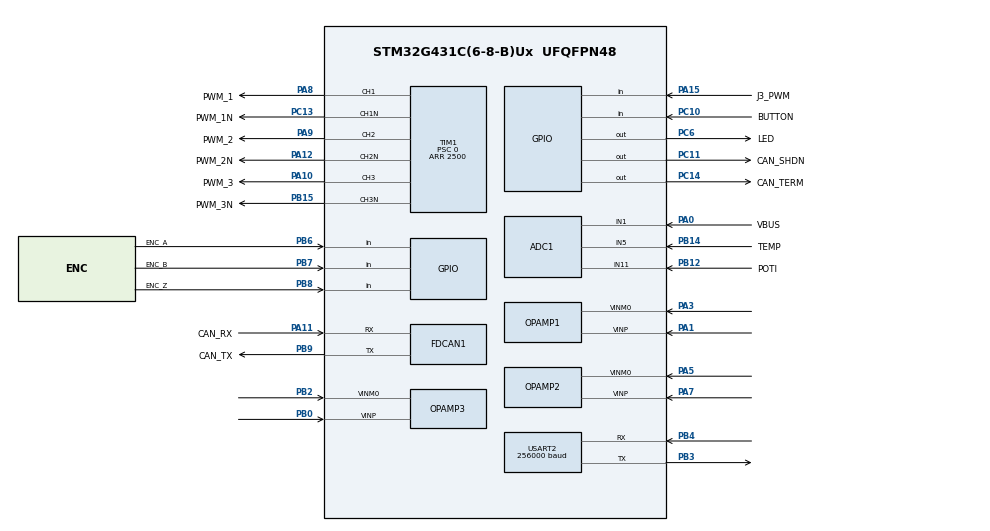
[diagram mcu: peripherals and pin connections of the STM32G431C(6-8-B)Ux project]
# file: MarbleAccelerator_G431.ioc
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ADC1.Channel-0\#ChannelRegularConversion=ADC_CHANNEL_5
ADC1.Channel-1\#ChannelRegularConversion=ADC_CHANNEL_11
ADC1.EOCSelection=ADC_EOC_SEQ_CONV
ADC1.EnableInjectedConversion=ENABLE
ADC1.ExternalTrigInjecConv=ADC_EXTERNALTRIGINJEC_T1_TRGO
ADC1.InjNumberOfConversion=3
ADC1.InjectedChannel-2\#ChannelInjectedConversion=ADC_CHANNEL_VOPAMP1
ADC1.InjectedChannel-3\#ChannelInjectedConversion=ADC_CHANNEL_1
ADC1.InjectedChannel-5\#ChannelInjectedConversion=ADC_CHANNEL_11
ADC1.InjectedConvMode=None
ADC1.InjectedOffset-2\#ChannelInjectedConversion=2490
ADC1.InjectedOffsetNumber-2\#ChannelInjectedConversion=ADC_OFFSET_1
ADC1.InjectedOffsetNumber-3\#ChannelInjectedConversion=ADC_OFFSET_NONE
ADC1.InjectedOffsetNumber-5\#ChannelInjectedConversion=ADC_OFFSET_NONE
ADC1.InjectedRank-2\#ChannelInjectedConversion=1
ADC1.InjectedRank-3\#ChannelInjectedConversion=2
ADC1.InjectedRank-5\#ChannelInjectedConversion=3
ADC1.InjectedSamplingTime-2\#ChannelInjectedConversion=ADC_SAMPLETIME_2CYCLES_5
ADC1.InjectedSamplingTime-3\#ChannelInjectedConversion=ADC_SAMPLETIME_2CYCLES_5
ADC1.InjectedSamplingTime-5\#ChannelInjectedConversion=ADC_SAMPLETIME_2CYCLES_5
ADC1.NbrOfConversion=2
ADC1.NbrOfConversionFlag=1
ADC1.OffsetNumber-0\#ChannelRegularConversion=ADC_OFFSET_NONE
ADC1.OffsetNumber-1\#ChannelRegularConversion=ADC_OFFSET_NONE
ADC1.Rank-0\#ChannelRegularConversion=1
ADC1.Rank-1\#ChannelRegularConversion=2
ADC1.Rank1_Channel=ADC_CHANNEL_VOPAMP1
ADC1.Rank2_Channel=ADC_CHANNEL_1
ADC1.Rank3_Channel=ADC_CHANNEL_11
ADC1.SamplingTime-0\#ChannelRegularConversion=ADC_SAMPLETIME_2CYCLES_5
ADC1.SamplingTime-1\#ChannelRegularConversion=ADC_SAMPLETIME_2CYCLES_5
ADC1.injectedQueueMode=DISABLE
ADC1.master=1
ADC2.EnableInjectedConversion=ENABLE
ADC2.EnableRegularConversion=DISABLE
ADC2.ExternalTrigInjecConv=ADC_EXTERNALTRIGINJEC_T1_TRGO
ADC2.InjNumberOfConversion=2
ADC2.InjectedChannel-1\#ChannelInjectedConversion=ADC_CHANNEL_VOPAMP2
ADC2.InjectedChannel-2\#ChannelInjectedConversion=ADC_CHANNEL_VOPAMP3_ADC2
ADC2.InjectedConvMode=None
ADC2.InjectedOffset-1\#ChannelInjectedConversion=2490
ADC2.InjectedOffset-2\#ChannelInjectedConversion=2490
ADC2.InjectedOffsetNumber-1\#ChannelInjectedConversion=ADC_OFFSET_1
ADC2.InjectedOffsetNumber-2\#ChannelInjectedConversion=ADC_OFFSET_2
ADC2.InjectedRank-1\#ChannelInjectedConversion=1
ADC2.InjectedRank-2\#ChannelInjectedConversion=2
ADC2.InjectedSamplingTime-1\#ChannelInjectedConversion=ADC_SAMPLETIME_2CYCLES_5
ADC2.InjectedSamplingTime-2\#ChannelInjectedConversion=ADC_SAMPLETIME_2CYCLES_5
ADC2.Rank1_Channel=ADC_CHANNEL_VOPAMP2
ADC2.Rank2_Channel=ADC_CHANNEL_VOPAMP3_ADC2
ADC2.injectedQueueMode=DISABLE
FDCAN1.ClockDivider=FDCAN_CLOCK_DIV1
FDCAN1.DataTimeSeg1=1
FDCAN1.DataTimeSeg2=1
FDCAN1.FrameFormat=FDCAN_FRAME_CLASSIC
FDCAN1.NominalTimeSeg1=99
FDCAN1.NominalTimeSeg2=60
Mcu.Family=STM32G4
Mcu.Name=STM32G431C(6-8-B)Ux
Mcu.Package=UFQFPN48
NVIC.FDCAN1_IT0_IRQn=true\:6\:0\:true\:false\:true\:true\:true\:true
NVIC.PriorityGroup=NVIC_PRIORITYGROUP_4
NVIC.TIM1_UP_TIM16_IRQn=true\:2\:0\:true\:false\:true\:true\:true\:true
NVIC.USART2_IRQn=true\:7\:0\:true\:false\:true\:true\:true\:true
OPAMP1.PgaGain=OPAMP_PGA_GAIN_16_OR_MINUS_15
OPAMP2.PgaGain=OPAMP_PGA_GAIN_16_OR_MINUS_15
OPAMP3.PgaGain=OPAMP_PGA_GAIN_16_OR_MINUS_15
PA0.GPIO_Label=VBUS
PA0.Mode=IN1-Single-Ended
PA0.Signal=ADC1_IN1
PA1.Mode=PGA Internally connected_IO0_BIAS
PA1.Signal=OPAMP1_VINP
PA10.GPIO_Label=PWM_3
PA10.Signal=S_TIM1_CH3
PA11.GPIO_Label=CAN_RX
PA11.Mode=FDCAN_Activate
PA11.Signal=FDCAN1_RX
PA12.GPIO_Label=PWM_2N
PA12.Mode=PWM Generation2 CH2 CH2N
PA12.Signal=TIM1_CH2N
PA15.GPIO_Label=J3_PWM
PA15.Signal=GPIO_Input
PA3.Mode=PGA Internally connected_IO0_BIAS
PA3.Signal=OPAMP1_VINM0
PA5.Mode=PGA Internally connected_IO0_BIAS
PA5.Signal=OPAMP2_VINM0
PA7.Mode=PGA Internally connected_IO0_BIAS
PA7.Signal=OPAMP2_VINP
PA8.GPIO_Label=PWM_1
PA8.Signal=S_TIM1_CH1
PA9.GPIO_Label=PWM_2
PA9.Signal=S_TIM1_CH2
PB0.Mode=PGA Internally connected_IO0_BIAS
PB0.Signal=OPAMP3_VINP
PB12.GPIO_Label=POTI
PB12.Mode=IN11-Single-Ended
PB12.Signal=ADC1_IN11
PB14.GPIO_Label=TEMP
PB14.Mode=IN5-Single-Ended
PB14.Signal=ADC1_IN5
PB15.GPIO_Label=PWM_3N
PB15.Mode=PWM Generation3 CH3 CH3N
PB15.Signal=TIM1_CH3N
PB2.Mode=PGA Internally connected_IO0_BIAS
PB2.Signal=OPAMP3_VINM0
PB3.Mode=Asynchronous
PB3.Signal=USART2_TX
PB4.Mode=Asynchronous
PB4.Signal=USART2_RX
PB6.GPIO_Label=ENC_A
PB6.Signal=GPIO_Input
PB7.GPIO_Label=ENC_B
PB7.Signal=GPIO_Input
PB8-BOOT0.GPIO_Label=ENC_Z
PB8-BOOT0.Signal=GPIO_Input
PB9.GPIO_Label=CAN_TX
PB9.Mode=FDCAN_Activate
PB9.Signal=FDCAN1_TX
PC10.GPIO_Label=BUTTON
PC10.GPIO_PuPd=GPIO_NOPULL
PC10.Signal=GPIO_Input
PC11.GPIO_Label=CAN_SHDN
PC11.Signal=GPIO_Output
PC13.GPIO_Label=PWM_1N
PC13.Mode=PWM Generation1 CH1 CH1N
PC13.Signal=TIM1_CH1N
PC14-OSC32_IN.GPIO_Label=CAN_TERM
PC14-OSC32_IN.Signal=GPIO_Output
PC6.GPIO_Label=LED
PC6.Signal=GPIO_Output
PF0-OSC_IN.Mode=HSE-External-Oscillator
PF0-OSC_IN.Signal=RCC_OSC_IN
PF1-OSC_OUT.Mode=HSE-External-Oscillator
PF1-OSC_OUT.Signal=RCC_OSC_OUT
ProjectManager.HeapSize=0x200
ProjectManager.StackSize=0x400
ProjectManager.TargetToolchain=STM32CubeIDE
RCC.ADC12Freq_Value=160000000
RCC.AHBFreq_Value=160000000
RCC.APB1Freq_Value=160000000
RCC.APB1TimFreq_Value=160000000
RCC.APB2Freq_Value=160000000
RCC.APB2TimFreq_Value=160000000
RCC.CortexFreq_Value=160000000
RCC.EXTERNAL_CLOCK_VALUE=12288000
RCC.HCLKFreq_Value=160000000
RCC.HSE_VALUE=8000000
RCC.HSI48_VALUE=48000000
RCC.HSI_VALUE=16000000
RCC.LSE_VALUE=32768
RCC.PLLM=RCC_PLLM_DIV2
RCC.PLLN=80
RCC.PLLSourceVirtual=RCC_PLLSOURCE_HSE
RCC.SYSCLKFreq_VALUE=160000000
RCC.SYSCLKSource=RCC_SYSCLKSOURCE_PLLCLK
RCC.USBFreq_Value=160000000
RCC.VCOOutputFreq_Value=320000000
SH.S_TIM1_CH1.0=TIM1_CH1,PWM Generation1 CH1 CH1N
SH.S_TIM1_CH2.0=TIM1_CH2,PWM Generation2 CH2 CH2N
SH.S_TIM1_CH3.0=TIM1_CH3,PWM Generation3 CH3 CH3N
TIM1.AutoReloadPreload=TIM_AUTORELOAD_PRELOAD_ENABLE
TIM1.Channel-PWM\ Generation1\ CH1\ CH1N=TIM_CHANNEL_1
TIM1.Channel-PWM\ Generation2\ CH2\ CH2N=TIM_CHANNEL_2
TIM1.Channel-PWM\ Generation3\ CH3\ CH3N=TIM_CHANNEL_3
TIM1.CounterMode=TIM_COUNTERMODE_CENTERALIGNED1
TIM1.DeadTime=160
TIM1.LockLevel=TIM_LOCKLEVEL_1
TIM1.PeriodNoDither=2500
TIM1.Prescaler=0
TIM1.PulseNoDither_1=0
TIM1.PulseNoDither_2=0
TIM1.PulseNoDither_3=0
TIM1.RepetitionCounter=3
TIM1.TIM_MasterOutputTrigger=TIM_TRGO_UPDATE
USART2.BaudRate=256000
USART2.FIFOMode=FIFOMODE_ENABLE
USART2.RXFIFOThreshold=RXFIFO_THRESHOLD_HALFFULL
USART2.TXFIFOThreshold=TXFIFO_THRESHOLD_HALFFULL
USART2.VirtualMode-Asynchronous=VM_ASYNC
VP_ADC1_OPAMP_INTERNAL1.Mode=IN-OPAMP1
VP_ADC2_OPAMP_INTERNAL2.Mode=IN-OPAMP2
VP_ADC2_OPAMP_INTERNAL3.Mode=IN-OPAMP3
VP_SYS_VS_DBSignals.Mode=DisableDeadBatterySignals
VP_TIM1_VS_ClockSourceINT.Mode=Internal
board=custom

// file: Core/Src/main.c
/* USER CODE BEGIN Header */
/**
  ******************************************************************************
  * @file           : main.c
  * @brief          : Main program body
  ******************************************************************************
  * @attention
  *
  * <h2><center>&copy; Copyright (c) 2021 STMicroelectronics.
  * All rights reserved.</center></h2>
  *
  * This software component is licensed by ST under BSD 3-Clause license,
  * the "License"; You may not use this file except in compliance with the
  * License. You may obtain a copy of the License at:
  *                        opensource.org/licenses/BSD-3-Clause
  *
  ******************************************************************************
  */
/* USER CODE END Header */
#include "main.h"

FDCAN_HandleTypeDef hfdcan1;

UART_HandleTypeDef huart2;

void SystemClock_Config(void);
static void MX_GPIO_Init(void);
static void MX_OPAMP3_Init(void);
static void MX_OPAMP1_Init(void);
static void MX_OPAMP2_Init(void);
static void MX_TIM1_Init(void);
static void MX_ADC1_Init(void);
static void MX_ADC2_Init(void);
static void MX_FDCAN1_Init(void);
static void MX_USART2_UART_Init(void);
/* USER CODE BEGIN PFP */
extern void FDCAN_Config(void);
extern void control_init(void);
extern void datarec_init(void);
extern int datarec_isNewData(void);
extern void datarec_printResults(UART_HandleTypeDef *huart);
/* USER CODE END PFP */

int main(void)
{

  /* MCU Configuration--------------------------------------------------------*/

  /* Reset of all peripherals, Initializes the Flash interface and the Systick. */
  HAL_Init();

  /* Configure the system clock */
  SystemClock_Config();

  /* Initialize all configured peripherals */
  MX_GPIO_Init();
  MX_OPAMP3_Init();
  MX_OPAMP1_Init();
  MX_OPAMP2_Init();
  MX_TIM1_Init();
  MX_ADC1_Init();
  MX_ADC2_Init();
  MX_FDCAN1_Init();
  MX_USART2_UART_Init();
  /* USER CODE BEGIN 2 */

  //Enable Opamps
  LL_OPAMP_Enable(OPAMP1);
  LL_OPAMP_Enable(OPAMP2);
  LL_OPAMP_Enable(OPAMP3);

  //Enable ADCs
  LL_ADC_Enable(ADC1);
  LL_ADC_Enable(ADC2);

  //LL_ADC_EnableIT_EOCS(ADC1);
  //LL_ADC_REG_StartConversionSWStart(ADC1);
  LL_ADC_INJ_StartConversion(ADC1);
  //LL_ADC_EnableIT_EOCS(ADC2);
  //LL_ADC_REG_StartConversionSWStart(ADC2);
  LL_ADC_INJ_StartConversion(ADC2);

  //TIM 4 is for Encoder
  LL_TIM_EnableCounter(TIM4);
  LL_TIM_CC_EnableChannel(TIM4, LL_TIM_CHANNEL_CH3); //Zero marker position

  //TIM1 is for PWM
  LL_TIM_EnableCounter(TIM1);
  LL_TIM_CC_EnableChannel(TIM1, LL_TIM_CHANNEL_CH1);
  LL_TIM_CC_EnableChannel(TIM1, LL_TIM_CHANNEL_CH1N);
  LL_TIM_CC_EnableChannel(TIM1, LL_TIM_CHANNEL_CH2);
  LL_TIM_CC_EnableChannel(TIM1, LL_TIM_CHANNEL_CH2N);
  LL_TIM_CC_EnableChannel(TIM1, LL_TIM_CHANNEL_CH3);
  LL_TIM_CC_EnableChannel(TIM1, LL_TIM_CHANNEL_CH3N);

  //Config / Enable CAN
  //FDCAN_Config();

  control_init();
  datarec_init();

  /* USER CODE END 2 */

  /* Infinite loop */
  while (1)
  {

    /* USER CODE BEGIN 3 */
	if(datarec_isNewData()){
		datarec_printResults(&huart2);
	}

  }
  /* USER CODE END 3 */
}

void SystemClock_Config(void)
{
  LL_FLASH_SetLatency(LL_FLASH_LATENCY_4);
  while(LL_FLASH_GetLatency() != LL_FLASH_LATENCY_4)
  {
  }
  LL_PWR_EnableRange1BoostMode();
  LL_RCC_HSE_Enable();
   /* Wait till HSE is ready */
  while(LL_RCC_HSE_IsReady() != 1)
  {
  }

  LL_RCC_PLL_ConfigDomain_SYS(LL_RCC_PLLSOURCE_HSE, LL_RCC_PLLM_DIV_2, 80, LL_RCC_PLLR_DIV_2);
  LL_RCC_PLL_EnableDomain_SYS();
  LL_RCC_PLL_Enable();
   /* Wait till PLL is ready */
  while(LL_RCC_PLL_IsReady() != 1)
  {
  }

  LL_RCC_SetSysClkSource(LL_RCC_SYS_CLKSOURCE_PLL);
  LL_RCC_SetAHBPrescaler(LL_RCC_SYSCLK_DIV_2);
   /* Wait till System clock is ready */
  while(LL_RCC_GetSysClkSource() != LL_RCC_SYS_CLKSOURCE_STATUS_PLL)
  {
  }

  /* Insure 1µs transition state at intermediate medium speed clock based on DWT */
  CoreDebug->DEMCR |= CoreDebug_DEMCR_TRCENA_Msk;
  DWT->CTRL |= DWT_CTRL_CYCCNTENA_Msk;
  DWT->CYCCNT = 0;
  while(DWT->CYCCNT < 100);
  /* Set AHB prescaler*/
  LL_RCC_SetAHBPrescaler(LL_RCC_SYSCLK_DIV_1);
  LL_RCC_SetAPB1Prescaler(LL_RCC_APB1_DIV_1);
  LL_RCC_SetAPB2Prescaler(LL_RCC_APB2_DIV_1);
  LL_SetSystemCoreClock(160000000);

   /* Update the time base */
  if (HAL_InitTick (TICK_INT_PRIORITY) != HAL_OK)
  {
    Error_Handler();
  }
}

static void MX_ADC1_Init(void)
{

  LL_ADC_InitTypeDef ADC_InitStruct = {0};
  LL_ADC_REG_InitTypeDef ADC_REG_InitStruct = {0};
  LL_ADC_CommonInitTypeDef ADC_CommonInitStruct = {0};
  LL_ADC_INJ_InitTypeDef ADC_INJ_InitStruct = {0};

  LL_GPIO_InitTypeDef GPIO_InitStruct = {0};

  LL_RCC_SetADCClockSource(LL_RCC_ADC12_CLKSOURCE_SYSCLK);

  /* Peripheral clock enable */
  LL_AHB2_GRP1_EnableClock(LL_AHB2_GRP1_PERIPH_ADC12);

  LL_AHB2_GRP1_EnableClock(LL_AHB2_GRP1_PERIPH_GPIOA);
  LL_AHB2_GRP1_EnableClock(LL_AHB2_GRP1_PERIPH_GPIOB);
  /**ADC1 GPIO Configuration
  PA0   ------> ADC1_IN1
  PB12   ------> ADC1_IN11
  PB14   ------> ADC1_IN5
  */
  GPIO_InitStruct.Pin = VBUS_Pin;
  GPIO_InitStruct.Mode = LL_GPIO_MODE_ANALOG;
  GPIO_InitStruct.Pull = LL_GPIO_PULL_NO;
  LL_GPIO_Init(VBUS_GPIO_Port, &GPIO_InitStruct);

  GPIO_InitStruct.Pin = POTI_Pin;
  GPIO_InitStruct.Mode = LL_GPIO_MODE_ANALOG;
  GPIO_InitStruct.Pull = LL_GPIO_PULL_NO;
  LL_GPIO_Init(POTI_GPIO_Port, &GPIO_InitStruct);

  GPIO_InitStruct.Pin = TEMP_Pin;
  GPIO_InitStruct.Mode = LL_GPIO_MODE_ANALOG;
  GPIO_InitStruct.Pull = LL_GPIO_PULL_NO;
  LL_GPIO_Init(TEMP_GPIO_Port, &GPIO_InitStruct);

  /** Common config
  */
  ADC_InitStruct.Resolution = LL_ADC_RESOLUTION_12B;
  ADC_InitStruct.DataAlignment = LL_ADC_DATA_ALIGN_RIGHT;
  ADC_InitStruct.LowPowerMode = LL_ADC_LP_MODE_NONE;
  LL_ADC_Init(ADC1, &ADC_InitStruct);
  ADC_REG_InitStruct.TriggerSource = LL_ADC_REG_TRIG_SOFTWARE;
  ADC_REG_InitStruct.SequencerLength = LL_ADC_REG_SEQ_SCAN_ENABLE_2RANKS;
  ADC_REG_InitStruct.SequencerDiscont = LL_ADC_REG_SEQ_DISCONT_DISABLE;
  ADC_REG_InitStruct.ContinuousMode = LL_ADC_REG_CONV_SINGLE;
  ADC_REG_InitStruct.DMATransfer = LL_ADC_REG_DMA_TRANSFER_NONE;
  ADC_REG_InitStruct.Overrun = LL_ADC_REG_OVR_DATA_PRESERVED;
  LL_ADC_REG_Init(ADC1, &ADC_REG_InitStruct);
  LL_ADC_SetGainCompensation(ADC1, 0);
  LL_ADC_SetOverSamplingScope(ADC1, LL_ADC_OVS_DISABLE);
  ADC_CommonInitStruct.CommonClock = LL_ADC_CLOCK_SYNC_PCLK_DIV4;
  ADC_CommonInitStruct.Multimode = LL_ADC_MULTI_INDEPENDENT;
  LL_ADC_CommonInit(__LL_ADC_COMMON_INSTANCE(ADC1), &ADC_CommonInitStruct);
  ADC_INJ_InitStruct.TriggerSource = LL_ADC_INJ_TRIG_EXT_TIM1_TRGO;
  ADC_INJ_InitStruct.SequencerLength = LL_ADC_INJ_SEQ_SCAN_ENABLE_3RANKS;
  ADC_INJ_InitStruct.SequencerDiscont = LL_ADC_INJ_SEQ_DISCONT_DISABLE;
  ADC_INJ_InitStruct.TrigAuto = LL_ADC_INJ_TRIG_INDEPENDENT;
  LL_ADC_INJ_Init(ADC1, &ADC_INJ_InitStruct);
  LL_ADC_INJ_SetQueueMode(ADC1, LL_ADC_INJ_QUEUE_DISABLE);
  LL_ADC_INJ_SetTriggerEdge(ADC1, LL_ADC_INJ_TRIG_EXT_RISING);

  /* Disable ADC deep power down (enabled by default after reset state) */
  LL_ADC_DisableDeepPowerDown(ADC1);
  /* Enable ADC internal voltage regulator */
  LL_ADC_EnableInternalRegulator(ADC1);
  /* Delay for ADC internal voltage regulator stabilization. */
  /* Compute number of CPU cycles to wait for, from delay in us. */
  /* Note: Variable divided by 2 to compensate partially */
  /* CPU processing cycles (depends on compilation optimization). */
  /* Note: If system core clock frequency is below 200kHz, wait time */
  /* is only a few CPU processing cycles. */
  uint32_t wait_loop_index;
  wait_loop_index = ((LL_ADC_DELAY_INTERNAL_REGUL_STAB_US * (SystemCoreClock / (100000 * 2))) / 10);
  while(wait_loop_index != 0)
  {
    wait_loop_index--;
  }
  /** Configure Regular Channel
  */
  LL_ADC_REG_SetSequencerRanks(ADC1, LL_ADC_REG_RANK_1, LL_ADC_CHANNEL_5);
  LL_ADC_SetChannelSamplingTime(ADC1, LL_ADC_CHANNEL_5, LL_ADC_SAMPLINGTIME_2CYCLES_5);
  LL_ADC_SetChannelSingleDiff(ADC1, LL_ADC_CHANNEL_5, LL_ADC_SINGLE_ENDED);
  /** Configure Regular Channel
  */
  LL_ADC_REG_SetSequencerRanks(ADC1, LL_ADC_REG_RANK_2, LL_ADC_CHANNEL_11);
  LL_ADC_SetChannelSamplingTime(ADC1, LL_ADC_CHANNEL_11, LL_ADC_SAMPLINGTIME_2CYCLES_5);
  LL_ADC_SetChannelSingleDiff(ADC1, LL_ADC_CHANNEL_11, LL_ADC_SINGLE_ENDED);
  /** Configure Injected Channel
  */
  LL_ADC_INJ_SetSequencerRanks(ADC1, LL_ADC_INJ_RANK_1, LL_ADC_CHANNEL_VOPAMP1);
  LL_ADC_SetChannelSamplingTime(ADC1, LL_ADC_CHANNEL_VOPAMP1, LL_ADC_SAMPLINGTIME_2CYCLES_5);
  LL_ADC_SetChannelSingleDiff(ADC1, LL_ADC_CHANNEL_VOPAMP1, LL_ADC_SINGLE_ENDED);
  LL_ADC_SetOffset(ADC1, LL_ADC_OFFSET_1, LL_ADC_CHANNEL_VOPAMP1, 2490);
  LL_ADC_SetOffsetSign(ADC1, LL_ADC_OFFSET_1, LL_ADC_OFFSET_SIGN_NEGATIVE);
  LL_ADC_SetOffsetSaturation(ADC1, LL_ADC_OFFSET_1, LL_ADC_OFFSET_SATURATION_DISABLE);
  /** Configure Injected Channel
  */
  LL_ADC_INJ_SetSequencerRanks(ADC1, LL_ADC_INJ_RANK_2, LL_ADC_CHANNEL_1);
  LL_ADC_SetChannelSamplingTime(ADC1, LL_ADC_CHANNEL_1, LL_ADC_SAMPLINGTIME_2CYCLES_5);
  LL_ADC_SetChannelSingleDiff(ADC1, LL_ADC_CHANNEL_1, LL_ADC_SINGLE_ENDED);
  /** Configure Injected Channel
  */
  LL_ADC_INJ_SetSequencerRanks(ADC1, LL_ADC_INJ_RANK_3, LL_ADC_CHANNEL_11);
  LL_ADC_SetChannelSamplingTime(ADC1, LL_ADC_CHANNEL_11, LL_ADC_SAMPLINGTIME_2CYCLES_5);
  LL_ADC_SetChannelSingleDiff(ADC1, LL_ADC_CHANNEL_11, LL_ADC_SINGLE_ENDED);

}

static void MX_ADC2_Init(void)
{

  LL_ADC_InitTypeDef ADC_InitStruct = {0};
  LL_ADC_REG_InitTypeDef ADC_REG_InitStruct = {0};
  LL_ADC_INJ_InitTypeDef ADC_INJ_InitStruct = {0};

  LL_RCC_SetADCClockSource(LL_RCC_ADC12_CLKSOURCE_SYSCLK);

  /* Peripheral clock enable */
  LL_AHB2_GRP1_EnableClock(LL_AHB2_GRP1_PERIPH_ADC12);

  /** Common config
  */
  ADC_InitStruct.Resolution = LL_ADC_RESOLUTION_12B;
  ADC_InitStruct.DataAlignment = LL_ADC_DATA_ALIGN_RIGHT;
  ADC_InitStruct.LowPowerMode = LL_ADC_LP_MODE_NONE;
  LL_ADC_Init(ADC2, &ADC_InitStruct);
  ADC_REG_InitStruct.SequencerLength = LL_ADC_REG_SEQ_SCAN_DISABLE;
  ADC_REG_InitStruct.SequencerDiscont = LL_ADC_REG_SEQ_DISCONT_DISABLE;
  ADC_REG_InitStruct.ContinuousMode = LL_ADC_REG_CONV_SINGLE;
  ADC_REG_InitStruct.DMATransfer = LL_ADC_REG_DMA_TRANSFER_NONE;
  ADC_REG_InitStruct.Overrun = LL_ADC_REG_OVR_DATA_PRESERVED;
  LL_ADC_REG_Init(ADC2, &ADC_REG_InitStruct);
  LL_ADC_SetGainCompensation(ADC2, 0);
  LL_ADC_SetOverSamplingScope(ADC2, LL_ADC_OVS_DISABLE);
  ADC_INJ_InitStruct.TriggerSource = LL_ADC_INJ_TRIG_EXT_TIM1_TRGO;
  ADC_INJ_InitStruct.SequencerLength = LL_ADC_INJ_SEQ_SCAN_ENABLE_2RANKS;
  ADC_INJ_InitStruct.SequencerDiscont = LL_ADC_INJ_SEQ_DISCONT_DISABLE;
  ADC_INJ_InitStruct.TrigAuto = LL_ADC_INJ_TRIG_INDEPENDENT;
  LL_ADC_INJ_Init(ADC2, &ADC_INJ_InitStruct);
  LL_ADC_INJ_SetQueueMode(ADC2, LL_ADC_INJ_QUEUE_DISABLE);
  LL_ADC_INJ_SetTriggerEdge(ADC2, LL_ADC_INJ_TRIG_EXT_RISING);

  /* Disable ADC deep power down (enabled by default after reset state) */
  LL_ADC_DisableDeepPowerDown(ADC2);
  /* Enable ADC internal voltage regulator */
  LL_ADC_EnableInternalRegulator(ADC2);
  /* Delay for ADC internal voltage regulator stabilization. */
  /* Compute number of CPU cycles to wait for, from delay in us. */
  /* Note: Variable divided by 2 to compensate partially */
  /* CPU processing cycles (depends on compilation optimization). */
  /* Note: If system core clock frequency is below 200kHz, wait time */
  /* is only a few CPU processing cycles. */
  uint32_t wait_loop_index;
  wait_loop_index = ((LL_ADC_DELAY_INTERNAL_REGUL_STAB_US * (SystemCoreClock / (100000 * 2))) / 10);
  while(wait_loop_index != 0)
  {
    wait_loop_index--;
  }
  /** Configure Injected Channel
  */
  LL_ADC_INJ_SetSequencerRanks(ADC2, LL_ADC_INJ_RANK_1, LL_ADC_CHANNEL_VOPAMP2);
  LL_ADC_SetChannelSamplingTime(ADC2, LL_ADC_CHANNEL_VOPAMP2, LL_ADC_SAMPLINGTIME_2CYCLES_5);
  LL_ADC_SetChannelSingleDiff(ADC2, LL_ADC_CHANNEL_VOPAMP2, LL_ADC_SINGLE_ENDED);
  LL_ADC_SetOffset(ADC2, LL_ADC_OFFSET_1, LL_ADC_CHANNEL_VOPAMP2, 2490);
  LL_ADC_SetOffsetSign(ADC2, LL_ADC_OFFSET_1, LL_ADC_OFFSET_SIGN_NEGATIVE);
  LL_ADC_SetOffsetSaturation(ADC2, LL_ADC_OFFSET_1, LL_ADC_OFFSET_SATURATION_DISABLE);
  /** Configure Injected Channel
  */
  LL_ADC_INJ_SetSequencerRanks(ADC2, LL_ADC_INJ_RANK_2, LL_ADC_CHANNEL_VOPAMP3_ADC2);
  LL_ADC_SetChannelSamplingTime(ADC2, LL_ADC_CHANNEL_VOPAMP3_ADC2, LL_ADC_SAMPLINGTIME_2CYCLES_5);
  LL_ADC_SetChannelSingleDiff(ADC2, LL_ADC_CHANNEL_VOPAMP3_ADC2, LL_ADC_SINGLE_ENDED);
  LL_ADC_SetOffset(ADC2, LL_ADC_OFFSET_2, LL_ADC_CHANNEL_VOPAMP3_ADC2, 2490);
  LL_ADC_SetOffsetSign(ADC2, LL_ADC_OFFSET_2, LL_ADC_OFFSET_SIGN_NEGATIVE);
  LL_ADC_SetOffsetSaturation(ADC2, LL_ADC_OFFSET_2, LL_ADC_OFFSET_SATURATION_DISABLE);

}

static void MX_FDCAN1_Init(void)
{

  hfdcan1.Instance = FDCAN1;
  hfdcan1.Init.ClockDivider = FDCAN_CLOCK_DIV1;
  hfdcan1.Init.FrameFormat = FDCAN_FRAME_CLASSIC;
  hfdcan1.Init.Mode = FDCAN_MODE_NORMAL;
  hfdcan1.Init.AutoRetransmission = DISABLE;
  hfdcan1.Init.TransmitPause = DISABLE;
  hfdcan1.Init.ProtocolException = DISABLE;
  hfdcan1.Init.NominalPrescaler = 1;
  hfdcan1.Init.NominalSyncJumpWidth = 1;
  hfdcan1.Init.NominalTimeSeg1 = 99;
  hfdcan1.Init.NominalTimeSeg2 = 60;
  hfdcan1.Init.DataPrescaler = 1;
  hfdcan1.Init.DataSyncJumpWidth = 1;
  hfdcan1.Init.DataTimeSeg1 = 1;
  hfdcan1.Init.DataTimeSeg2 = 1;
  hfdcan1.Init.StdFiltersNbr = 0;
  hfdcan1.Init.ExtFiltersNbr = 0;
  hfdcan1.Init.TxFifoQueueMode = FDCAN_TX_FIFO_OPERATION;
  if (HAL_FDCAN_Init(&hfdcan1) != HAL_OK)
  {
    Error_Handler();
  }

}

static void MX_OPAMP1_Init(void)
{

  LL_OPAMP_InitTypeDef OPAMP_InitStruct = {0};

  LL_GPIO_InitTypeDef GPIO_InitStruct = {0};

  LL_AHB2_GRP1_EnableClock(LL_AHB2_GRP1_PERIPH_GPIOA);
  /**OPAMP1 GPIO Configuration
  PA1   ------> OPAMP1_VINP
  PA3   ------> OPAMP1_VINM0
  */
  GPIO_InitStruct.Pin = LL_GPIO_PIN_1;
  GPIO_InitStruct.Mode = LL_GPIO_MODE_ANALOG;
  GPIO_InitStruct.Pull = LL_GPIO_PULL_NO;
  LL_GPIO_Init(GPIOA, &GPIO_InitStruct);

  GPIO_InitStruct.Pin = LL_GPIO_PIN_3;
  GPIO_InitStruct.Mode = LL_GPIO_MODE_ANALOG;
  GPIO_InitStruct.Pull = LL_GPIO_PULL_NO;
  LL_GPIO_Init(GPIOA, &GPIO_InitStruct);

  OPAMP_InitStruct.PowerMode = LL_OPAMP_POWERMODE_NORMALSPEED;
  OPAMP_InitStruct.FunctionalMode = LL_OPAMP_MODE_PGA_IO0_BIAS;
  OPAMP_InitStruct.InputNonInverting = LL_OPAMP_INPUT_NONINVERT_IO0;
  LL_OPAMP_Init(OPAMP1, &OPAMP_InitStruct);
  LL_OPAMP_SetInputsMuxMode(OPAMP1, LL_OPAMP_INPUT_MUX_DISABLE);
  LL_OPAMP_SetInternalOutput(OPAMP1, LL_OPAMP_INTERNAL_OUPUT_ENABLED);
  LL_OPAMP_SetPGAGain(OPAMP1, LL_OPAMP_PGA_GAIN_16_OR_MINUS_15);
  LL_OPAMP_SetTrimmingMode(OPAMP1, LL_OPAMP_TRIMMING_FACTORY);

}

static void MX_OPAMP2_Init(void)
{

  LL_OPAMP_InitTypeDef OPAMP_InitStruct = {0};

  LL_GPIO_InitTypeDef GPIO_InitStruct = {0};

  LL_AHB2_GRP1_EnableClock(LL_AHB2_GRP1_PERIPH_GPIOA);
  /**OPAMP2 GPIO Configuration
  PA5   ------> OPAMP2_VINM0
  PA7   ------> OPAMP2_VINP
  */
  GPIO_InitStruct.Pin = LL_GPIO_PIN_5;
  GPIO_InitStruct.Mode = LL_GPIO_MODE_ANALOG;
  GPIO_InitStruct.Pull = LL_GPIO_PULL_NO;
  LL_GPIO_Init(GPIOA, &GPIO_InitStruct);

  GPIO_InitStruct.Pin = LL_GPIO_PIN_7;
  GPIO_InitStruct.Mode = LL_GPIO_MODE_ANALOG;
  GPIO_InitStruct.Pull = LL_GPIO_PULL_NO;
  LL_GPIO_Init(GPIOA, &GPIO_InitStruct);

  OPAMP_InitStruct.PowerMode = LL_OPAMP_POWERMODE_NORMALSPEED;
  OPAMP_InitStruct.FunctionalMode = LL_OPAMP_MODE_PGA_IO0_BIAS;
  OPAMP_InitStruct.InputNonInverting = LL_OPAMP_INPUT_NONINVERT_IO0;
  LL_OPAMP_Init(OPAMP2, &OPAMP_InitStruct);
  LL_OPAMP_SetInputsMuxMode(OPAMP2, LL_OPAMP_INPUT_MUX_DISABLE);
  LL_OPAMP_SetInternalOutput(OPAMP2, LL_OPAMP_INTERNAL_OUPUT_ENABLED);
  LL_OPAMP_SetPGAGain(OPAMP2, LL_OPAMP_PGA_GAIN_16_OR_MINUS_15);
  LL_OPAMP_SetTrimmingMode(OPAMP2, LL_OPAMP_TRIMMING_FACTORY);

}

static void MX_OPAMP3_Init(void)
{

  LL_OPAMP_InitTypeDef OPAMP_InitStruct = {0};

  LL_GPIO_InitTypeDef GPIO_InitStruct = {0};

  LL_AHB2_GRP1_EnableClock(LL_AHB2_GRP1_PERIPH_GPIOB);
  /**OPAMP3 GPIO Configuration
  PB0   ------> OPAMP3_VINP
  PB2   ------> OPAMP3_VINM0
  */
  GPIO_InitStruct.Pin = LL_GPIO_PIN_0;
  GPIO_InitStruct.Mode = LL_GPIO_MODE_ANALOG;
  GPIO_InitStruct.Pull = LL_GPIO_PULL_NO;
  LL_GPIO_Init(GPIOB, &GPIO_InitStruct);

  GPIO_InitStruct.Pin = LL_GPIO_PIN_2;
  GPIO_InitStruct.Mode = LL_GPIO_MODE_ANALOG;
  GPIO_InitStruct.Pull = LL_GPIO_PULL_NO;
  LL_GPIO_Init(GPIOB, &GPIO_InitStruct);

  OPAMP_InitStruct.PowerMode = LL_OPAMP_POWERMODE_NORMALSPEED;
  OPAMP_InitStruct.FunctionalMode = LL_OPAMP_MODE_PGA_IO0_BIAS;
  OPAMP_InitStruct.InputNonInverting = LL_OPAMP_INPUT_NONINVERT_IO0;
  LL_OPAMP_Init(OPAMP3, &OPAMP_InitStruct);
  LL_OPAMP_SetInputsMuxMode(OPAMP3, LL_OPAMP_INPUT_MUX_DISABLE);
  LL_OPAMP_SetInternalOutput(OPAMP3, LL_OPAMP_INTERNAL_OUPUT_ENABLED);
  LL_OPAMP_SetPGAGain(OPAMP3, LL_OPAMP_PGA_GAIN_16_OR_MINUS_15);
  LL_OPAMP_SetTrimmingMode(OPAMP3, LL_OPAMP_TRIMMING_FACTORY);

}

static void MX_TIM1_Init(void)
{

  LL_TIM_InitTypeDef TIM_InitStruct = {0};
  LL_TIM_OC_InitTypeDef TIM_OC_InitStruct = {0};
  LL_TIM_BDTR_InitTypeDef TIM_BDTRInitStruct = {0};

  LL_GPIO_InitTypeDef GPIO_InitStruct = {0};

  /* Peripheral clock enable */
  LL_APB2_GRP1_EnableClock(LL_APB2_GRP1_PERIPH_TIM1);

  /* TIM1 interrupt Init */
  NVIC_SetPriority(TIM1_UP_TIM16_IRQn, NVIC_EncodePriority(NVIC_GetPriorityGrouping(),2, 0));
  NVIC_EnableIRQ(TIM1_UP_TIM16_IRQn);

  TIM_InitStruct.Prescaler = 0;
  TIM_InitStruct.CounterMode = LL_TIM_COUNTERMODE_CENTER_UP;
  TIM_InitStruct.Autoreload = 2500;
  TIM_InitStruct.ClockDivision = LL_TIM_CLOCKDIVISION_DIV1;
  TIM_InitStruct.RepetitionCounter = 3;
  LL_TIM_Init(TIM1, &TIM_InitStruct);
  LL_TIM_EnableARRPreload(TIM1);
  LL_TIM_SetClockSource(TIM1, LL_TIM_CLOCKSOURCE_INTERNAL);
  LL_TIM_OC_EnablePreload(TIM1, LL_TIM_CHANNEL_CH1);
  TIM_OC_InitStruct.OCMode = LL_TIM_OCMODE_PWM1;
  TIM_OC_InitStruct.OCState = LL_TIM_OCSTATE_DISABLE;
  TIM_OC_InitStruct.OCNState = LL_TIM_OCSTATE_DISABLE;
  TIM_OC_InitStruct.CompareValue = 0;
  TIM_OC_InitStruct.OCPolarity = LL_TIM_OCPOLARITY_HIGH;
  TIM_OC_InitStruct.OCNPolarity = LL_TIM_OCPOLARITY_HIGH;
  TIM_OC_InitStruct.OCIdleState = LL_TIM_OCIDLESTATE_LOW;
  TIM_OC_InitStruct.OCNIdleState = LL_TIM_OCIDLESTATE_LOW;
  LL_TIM_OC_Init(TIM1, LL_TIM_CHANNEL_CH1, &TIM_OC_InitStruct);
  LL_TIM_OC_DisableFast(TIM1, LL_TIM_CHANNEL_CH1);
  LL_TIM_OC_EnablePreload(TIM1, LL_TIM_CHANNEL_CH2);
  LL_TIM_OC_Init(TIM1, LL_TIM_CHANNEL_CH2, &TIM_OC_InitStruct);
  LL_TIM_OC_DisableFast(TIM1, LL_TIM_CHANNEL_CH2);
  LL_TIM_OC_EnablePreload(TIM1, LL_TIM_CHANNEL_CH3);
  LL_TIM_OC_Init(TIM1, LL_TIM_CHANNEL_CH3, &TIM_OC_InitStruct);
  LL_TIM_OC_DisableFast(TIM1, LL_TIM_CHANNEL_CH3);
  LL_TIM_SetTriggerOutput(TIM1, LL_TIM_TRGO_UPDATE);
  LL_TIM_SetTriggerOutput2(TIM1, LL_TIM_TRGO2_RESET);
  LL_TIM_DisableMasterSlaveMode(TIM1);
  TIM_BDTRInitStruct.OSSRState = LL_TIM_OSSR_DISABLE;
  TIM_BDTRInitStruct.OSSIState = LL_TIM_OSSI_DISABLE;
  TIM_BDTRInitStruct.LockLevel = LL_TIM_LOCKLEVEL_1;
  TIM_BDTRInitStruct.DeadTime = 160;
  TIM_BDTRInitStruct.BreakState = LL_TIM_BREAK_DISABLE;
  TIM_BDTRInitStruct.BreakPolarity = LL_TIM_BREAK_POLARITY_HIGH;
  TIM_BDTRInitStruct.BreakFilter = LL_TIM_BREAK_FILTER_FDIV1;
  TIM_BDTRInitStruct.BreakAFMode = LL_TIM_BREAK_AFMODE_INPUT;
  TIM_BDTRInitStruct.Break2State = LL_TIM_BREAK2_DISABLE;
  TIM_BDTRInitStruct.Break2Polarity = LL_TIM_BREAK2_POLARITY_HIGH;
  TIM_BDTRInitStruct.Break2Filter = LL_TIM_BREAK2_FILTER_FDIV1;
  TIM_BDTRInitStruct.Break2AFMode = LL_TIM_BREAK_AFMODE_INPUT;
  TIM_BDTRInitStruct.AutomaticOutput = LL_TIM_AUTOMATICOUTPUT_DISABLE;
  LL_TIM_BDTR_Init(TIM1, &TIM_BDTRInitStruct);
  LL_AHB2_GRP1_EnableClock(LL_AHB2_GRP1_PERIPH_GPIOC);
  LL_AHB2_GRP1_EnableClock(LL_AHB2_GRP1_PERIPH_GPIOB);
  LL_AHB2_GRP1_EnableClock(LL_AHB2_GRP1_PERIPH_GPIOA);
  /**TIM1 GPIO Configuration
  PC13   ------> TIM1_CH1N
  PB15   ------> TIM1_CH3N
  PA8   ------> TIM1_CH1
  PA9   ------> TIM1_CH2
  PA10   ------> TIM1_CH3
  PA12   ------> TIM1_CH2N
  */
  GPIO_InitStruct.Pin = PWM_1N_Pin;
  GPIO_InitStruct.Mode = LL_GPIO_MODE_ALTERNATE;
  GPIO_InitStruct.Speed = LL_GPIO_SPEED_FREQ_LOW;
  GPIO_InitStruct.OutputType = LL_GPIO_OUTPUT_PUSHPULL;
  GPIO_InitStruct.Pull = LL_GPIO_PULL_NO;
  GPIO_InitStruct.Alternate = LL_GPIO_AF_4;
  LL_GPIO_Init(PWM_1N_GPIO_Port, &GPIO_InitStruct);

  GPIO_InitStruct.Pin = PWM_3N_Pin;
  GPIO_InitStruct.Mode = LL_GPIO_MODE_ALTERNATE;
  GPIO_InitStruct.Speed = LL_GPIO_SPEED_FREQ_LOW;
  GPIO_InitStruct.OutputType = LL_GPIO_OUTPUT_PUSHPULL;
  GPIO_InitStruct.Pull = LL_GPIO_PULL_NO;
  GPIO_InitStruct.Alternate = LL_GPIO_AF_4;
  LL_GPIO_Init(PWM_3N_GPIO_Port, &GPIO_InitStruct);

  GPIO_InitStruct.Pin = PWM_1_Pin;
  GPIO_InitStruct.Mode = LL_GPIO_MODE_ALTERNATE;
  GPIO_InitStruct.Speed = LL_GPIO_SPEED_FREQ_LOW;
  GPIO_InitStruct.OutputType = LL_GPIO_OUTPUT_PUSHPULL;
  GPIO_InitStruct.Pull = LL_GPIO_PULL_NO;
  GPIO_InitStruct.Alternate = LL_GPIO_AF_6;
  LL_GPIO_Init(PWM_1_GPIO_Port, &GPIO_InitStruct);

  GPIO_InitStruct.Pin = PWM_2_Pin;
  GPIO_InitStruct.Mode = LL_GPIO_MODE_ALTERNATE;
  GPIO_InitStruct.Speed = LL_GPIO_SPEED_FREQ_LOW;
  GPIO_InitStruct.OutputType = LL_GPIO_OUTPUT_PUSHPULL;
  GPIO_InitStruct.Pull = LL_GPIO_PULL_NO;
  GPIO_InitStruct.Alternate = LL_GPIO_AF_6;
  LL_GPIO_Init(PWM_2_GPIO_Port, &GPIO_InitStruct);

  GPIO_InitStruct.Pin = PWM_3_Pin;
  GPIO_InitStruct.Mode = LL_GPIO_MODE_ALTERNATE;
  GPIO_InitStruct.Speed = LL_GPIO_SPEED_FREQ_LOW;
  GPIO_InitStruct.OutputType = LL_GPIO_OUTPUT_PUSHPULL;
  GPIO_InitStruct.Pull = LL_GPIO_PULL_NO;
  GPIO_InitStruct.Alternate = LL_GPIO_AF_6;
  LL_GPIO_Init(PWM_3_GPIO_Port, &GPIO_InitStruct);

  GPIO_InitStruct.Pin = PWM_2N_Pin;
  GPIO_InitStruct.Mode = LL_GPIO_MODE_ALTERNATE;
  GPIO_InitStruct.Speed = LL_GPIO_SPEED_FREQ_LOW;
  GPIO_InitStruct.OutputType = LL_GPIO_OUTPUT_PUSHPULL;
  GPIO_InitStruct.Pull = LL_GPIO_PULL_NO;
  GPIO_InitStruct.Alternate = LL_GPIO_AF_6;
  LL_GPIO_Init(PWM_2N_GPIO_Port, &GPIO_InitStruct);

}

static void MX_USART2_UART_Init(void)
{

  huart2.Instance = USART2;
  huart2.Init.BaudRate = 256000;
  huart2.Init.WordLength = UART_WORDLENGTH_8B;
  huart2.Init.StopBits = UART_STOPBITS_1;
  huart2.Init.Parity = UART_PARITY_NONE;
  huart2.Init.Mode = UART_MODE_TX_RX;
  huart2.Init.HwFlowCtl = UART_HWCONTROL_NONE;
  huart2.Init.OverSampling = UART_OVERSAMPLING_16;
  huart2.Init.OneBitSampling = UART_ONE_BIT_SAMPLE_DISABLE;
  huart2.Init.ClockPrescaler = UART_PRESCALER_DIV1;
  huart2.AdvancedInit.AdvFeatureInit = UART_ADVFEATURE_NO_INIT;
  if (HAL_UART_Init(&huart2) != HAL_OK)
  {
    Error_Handler();
  }
  if (HAL_UARTEx_SetTxFifoThreshold(&huart2, UART_TXFIFO_THRESHOLD_1_2) != HAL_OK)
  {
    Error_Handler();
  }
  if (HAL_UARTEx_SetRxFifoThreshold(&huart2, UART_RXFIFO_THRESHOLD_1_2) != HAL_OK)
  {
    Error_Handler();
  }
  if (HAL_UARTEx_EnableFifoMode(&huart2) != HAL_OK)
  {
    Error_Handler();
  }

}

static void MX_GPIO_Init(void)
{
  LL_GPIO_InitTypeDef GPIO_InitStruct = {0};

  /* GPIO Ports Clock Enable */
  LL_AHB2_GRP1_EnableClock(LL_AHB2_GRP1_PERIPH_GPIOC);
  LL_AHB2_GRP1_EnableClock(LL_AHB2_GRP1_PERIPH_GPIOF);
  LL_AHB2_GRP1_EnableClock(LL_AHB2_GRP1_PERIPH_GPIOA);
  LL_AHB2_GRP1_EnableClock(LL_AHB2_GRP1_PERIPH_GPIOB);

  /**/
  LL_GPIO_ResetOutputPin(CAN_TERM_GPIO_Port, CAN_TERM_Pin);

  /**/
  LL_GPIO_ResetOutputPin(LED_GPIO_Port, LED_Pin);

  /**/
  LL_GPIO_ResetOutputPin(CAN_SHDN_GPIO_Port, CAN_SHDN_Pin);

  /**/
  GPIO_InitStruct.Pin = CAN_TERM_Pin;
  GPIO_InitStruct.Mode = LL_GPIO_MODE_OUTPUT;
  GPIO_InitStruct.Speed = LL_GPIO_SPEED_FREQ_LOW;
  GPIO_InitStruct.OutputType = LL_GPIO_OUTPUT_PUSHPULL;
  GPIO_InitStruct.Pull = LL_GPIO_PULL_NO;
  LL_GPIO_Init(CAN_TERM_GPIO_Port, &GPIO_InitStruct);

  /**/
  GPIO_InitStruct.Pin = LED_Pin;
  GPIO_InitStruct.Mode = LL_GPIO_MODE_OUTPUT;
  GPIO_InitStruct.Speed = LL_GPIO_SPEED_FREQ_LOW;
  GPIO_InitStruct.OutputType = LL_GPIO_OUTPUT_PUSHPULL;
  GPIO_InitStruct.Pull = LL_GPIO_PULL_NO;
  LL_GPIO_Init(LED_GPIO_Port, &GPIO_InitStruct);

  /**/
  GPIO_InitStruct.Pin = J3_PWM_Pin;
  GPIO_InitStruct.Mode = LL_GPIO_MODE_INPUT;
  GPIO_InitStruct.Pull = LL_GPIO_PULL_NO;
  LL_GPIO_Init(J3_PWM_GPIO_Port, &GPIO_InitStruct);

  /**/
  GPIO_InitStruct.Pin = BUTTON_Pin;
  GPIO_InitStruct.Mode = LL_GPIO_MODE_INPUT;
  GPIO_InitStruct.Pull = LL_GPIO_PULL_NO;
  LL_GPIO_Init(BUTTON_GPIO_Port, &GPIO_InitStruct);

  /**/
  GPIO_InitStruct.Pin = CAN_SHDN_Pin;
  GPIO_InitStruct.Mode = LL_GPIO_MODE_OUTPUT;
  GPIO_InitStruct.Speed = LL_GPIO_SPEED_FREQ_LOW;
  GPIO_InitStruct.OutputType = LL_GPIO_OUTPUT_PUSHPULL;
  GPIO_InitStruct.Pull = LL_GPIO_PULL_NO;
  LL_GPIO_Init(CAN_SHDN_GPIO_Port, &GPIO_InitStruct);

  /**/
  GPIO_InitStruct.Pin = ENC_A_Pin;
  GPIO_InitStruct.Mode = LL_GPIO_MODE_INPUT;
  GPIO_InitStruct.Pull = LL_GPIO_PULL_NO;
  LL_GPIO_Init(ENC_A_GPIO_Port, &GPIO_InitStruct);

  /**/
  GPIO_InitStruct.Pin = ENC_B_Pin;
  GPIO_InitStruct.Mode = LL_GPIO_MODE_INPUT;
  GPIO_InitStruct.Pull = LL_GPIO_PULL_NO;
  LL_GPIO_Init(ENC_B_GPIO_Port, &GPIO_InitStruct);

  /**/
  GPIO_InitStruct.Pin = ENC_Z_Pin;
  GPIO_InitStruct.Mode = LL_GPIO_MODE_INPUT;
  GPIO_InitStruct.Pull = LL_GPIO_PULL_NO;
  LL_GPIO_Init(ENC_Z_GPIO_Port, &GPIO_InitStruct);

}

void Error_Handler(void)
{
  __disable_irq();
  while (1)
  {
  }
}
